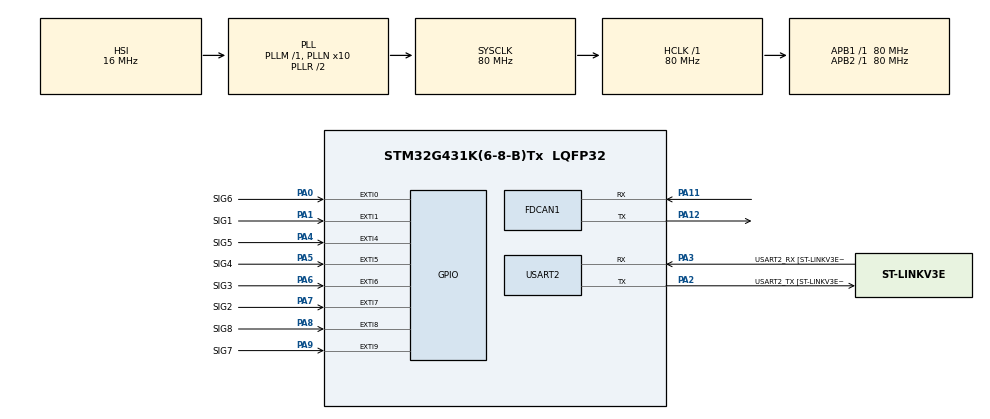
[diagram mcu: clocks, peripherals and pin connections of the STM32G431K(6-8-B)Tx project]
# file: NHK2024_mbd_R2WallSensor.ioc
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FDCAN1.CalculateBaudRateNominal=1000000
FDCAN1.CalculateTimeBitNominal=1000
FDCAN1.CalculateTimeQuantumNominal=50.0
FDCAN1.DataPrescaler=2
FDCAN1.DataSyncJumpWidth=1
FDCAN1.DataTimeSeg1=15
FDCAN1.DataTimeSeg2=4
FDCAN1.FrameFormat=FDCAN_FRAME_FD_BRS
FDCAN1.NominalPrescaler=4
FDCAN1.NominalSyncJumpWidth=1
FDCAN1.NominalTimeSeg1=15
FDCAN1.NominalTimeSeg2=4
FDCAN1.StdFiltersNbr=1
Mcu.Family=STM32G4
Mcu.Name=STM32G431K(6-8-B)Tx
Mcu.Package=LQFP32
NVIC.EXTI0_IRQn=true\:0\:0\:false\:false\:true\:true\:true\:true
NVIC.EXTI1_IRQn=true\:0\:0\:false\:false\:true\:true\:true\:true
NVIC.EXTI4_IRQn=true\:0\:0\:false\:false\:true\:true\:true\:true
NVIC.EXTI9_5_IRQn=true\:0\:0\:false\:false\:true\:true\:true\:true
NVIC.FDCAN1_IT0_IRQn=true\:0\:0\:false\:false\:true\:true\:true\:true
NVIC.FDCAN1_IT1_IRQn=true\:0\:0\:false\:false\:true\:true\:true\:true
NVIC.PriorityGroup=NVIC_PRIORITYGROUP_4
PA0.GPIO_Label=SIG6
PA0.Signal=GPXTI0
PA1.GPIO_Label=SIG1
PA1.Signal=GPXTI1
PA11.Mode=FDCAN_Activate
PA11.Signal=FDCAN1_RX
PA12.Mode=FDCAN_Activate
PA12.Signal=FDCAN1_TX
PA13.GPIO_Label=T_SWDIO
PA13.Mode=Serial_Wire
PA13.Signal=SYS_JTMS-SWDIO
PA14.GPIO_Label=T_SWCLK
PA14.Mode=Serial_Wire
PA14.Signal=SYS_JTCK-SWCLK
PA2.GPIO_Label=USART2_TX [ST-LINKV3E_VCP_RX]
PA2.Mode=Asynchronous
PA2.Signal=USART2_TX
PA3.GPIO_Label=USART2_RX [ST-LINKV3E_VCP_TX]
PA3.Mode=Asynchronous
PA3.Signal=USART2_RX
PA4.GPIO_Label=SIG5
PA4.Signal=GPXTI4
PA5.GPIO_Label=SIG4
PA5.Signal=GPXTI5
PA6.GPIO_Label=SIG3
PA6.Signal=GPXTI6
PA7.GPIO_Label=SIG2
PA7.Signal=GPXTI7
PA8.GPIO_Label=SIG8
PA8.Signal=GPXTI8
PA9.GPIO_Label=SIG7
PA9.Signal=GPXTI9
ProjectManager.HeapSize=0x200
ProjectManager.StackSize=0x400
ProjectManager.TargetToolchain=STM32CubeIDE
RCC.ADC12Freq_Value=80000000
RCC.AHBFreq_Value=80000000
RCC.APB1Freq_Value=80000000
RCC.APB1TimFreq_Value=80000000
RCC.APB2Freq_Value=80000000
RCC.APB2TimFreq_Value=80000000
RCC.CortexFreq_Value=80000000
RCC.EXTERNAL_CLOCK_VALUE=12288000
RCC.HCLKFreq_Value=80000000
RCC.HSE_VALUE=8000000
RCC.HSI48_VALUE=48000000
RCC.HSI_VALUE=16000000
RCC.LSE_VALUE=32768
RCC.PLLN=10
RCC.SYSCLKFreq_VALUE=80000000
RCC.SYSCLKSource=RCC_SYSCLKSOURCE_PLLCLK
RCC.USBFreq_Value=80000000
RCC.VCOOutputFreq_Value=160000000
USART2.VirtualMode-Asynchronous=VM_ASYNC
USART2.WordLength=WORDLENGTH_8B
board=NUCLEO-G431KB

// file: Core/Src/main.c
/* USER CODE BEGIN Header */
/**
  ******************************************************************************
  * @file           : main.c
  * @brief          : Main program body
  ******************************************************************************
  * @attention
  *
  * Copyright (c) 2024 STMicroelectronics.
  * All rights reserved.
  *
  * This software is licensed under terms that can be found in the LICENSE file
  * in the root directory of this software component.
  * If no LICENSE file comes with this software, it is provided AS-IS.
  *
  ******************************************************************************
  */
/* USER CODE END Header */
#include "main.h"

/* USER CODE BEGIN Includes */
#include <stdio.h>
#include "R2CANIDList.h"
/* USER CODE END Includes */

FDCAN_HandleTypeDef hfdcan1;

UART_HandleTypeDef huart2;

/* USER CODE BEGIN PV */
GPIO_TypeDef *SIGs[8] = {
		SIG1_GPIO_Port, SIG2_GPIO_Port, SIG3_GPIO_Port, SIG4_GPIO_Port,
		SIG5_GPIO_Port, SIG6_GPIO_Port, SIG7_GPIO_Port, SIG8_GPIO_Port
};

uint16_t SIGPins[8] = {
		SIG1_Pin, SIG2_Pin, SIG3_Pin, SIG4_Pin,
		SIG5_Pin, SIG6_Pin, SIG7_Pin, SIG8_Pin
};

/* USER CODE END PV */

void SystemClock_Config(void);
static void MX_GPIO_Init(void);
static void MX_USART2_UART_Init(void);
static void MX_FDCAN1_Init(void);
/* USER CODE BEGIN PFP */
uint8_t getWallStatus(void){
	uint8_t status = 0;
	for(uint8_t i=0; i<8; i++){
		uint8_t pinstate = HAL_GPIO_ReadPin(SIGs[i], SIGPins[i]);
		//printf("Sensor%d:%d\r\n", i, pinstate);
		status |= pinstate<<i;
	}
	//printf("Status:%x\r\n", status);
	return status;
}

/* USER CODE END PFP */

/* USER CODE BEGIN 0 */
int _write(int file, char *ptr, int len)
{
		HAL_UART_Transmit(&huart2, (uint8_t *)ptr, len, 10);
		return len;
}
/* USER CODE END 0 */

int main(void)
{
  /* USER CODE BEGIN 1 */
	setbuf(stdout, NULL);
  /* USER CODE END 1 */

  /* MCU Configuration--------------------------------------------------------*/

  /* Reset of all peripherals, Initializes the Flash interface and the Systick. */
  HAL_Init();

  /* Configure the system clock */
  SystemClock_Config();

  /* Initialize all configured peripherals */
  MX_GPIO_Init();
  MX_USART2_UART_Init();
  MX_FDCAN1_Init();
  /* USER CODE BEGIN 2 */
  printf("Initialized\r\n");
  uint8_t TxData[1] = {};

  FDCAN_TxHeaderTypeDef TxHeader;
  TxHeader.IdType = FDCAN_STANDARD_ID;
  	TxHeader.TxFrameType = FDCAN_DATA_FRAME;
  	TxHeader.DataLength = FDCAN_DLC_BYTES_1;
  	TxHeader.ErrorStateIndicator = FDCAN_ESI_ACTIVE;
  	TxHeader.BitRateSwitch = FDCAN_BRS_ON;
  	TxHeader.FDFormat = FDCAN_FD_CAN;
  	TxHeader.TxEventFifoControl = FDCAN_NO_TX_EVENTS;
  	TxHeader.MessageMarker = 0;
  	TxHeader.Identifier = CANID_WALL_DETECTION;
  /* USER CODE END 2 */

  /* Infinite loop */
  /* USER CODE BEGIN WHILE */
  while (1)
  {
	  HAL_Delay(5);
	  TxData[0] = getWallStatus();
	  if(TxData[0] != 255){
		  printf("%x \r\n", TxData[0]);
	  }
	  if (HAL_FDCAN_AddMessageToTxFifoQ(&hfdcan1, &TxHeader, TxData) != HAL_OK) {
		  printf("FDCAN ERROR\r\n");
		  Error_Handler();
	  }
    /* USER CODE END WHILE */

  }
}

void SystemClock_Config(void)
{
  RCC_OscInitTypeDef RCC_OscInitStruct = {0};
  RCC_ClkInitTypeDef RCC_ClkInitStruct = {0};

  /** Configure the main internal regulator output voltage
  */
  HAL_PWREx_ControlVoltageScaling(PWR_REGULATOR_VOLTAGE_SCALE1);

  /** Initializes the RCC Oscillators according to the specified parameters
  * in the RCC_OscInitTypeDef structure.
  */
  RCC_OscInitStruct.OscillatorType = RCC_OSCILLATORTYPE_HSI;
  RCC_OscInitStruct.HSIState = RCC_HSI_ON;
  RCC_OscInitStruct.HSICalibrationValue = RCC_HSICALIBRATION_DEFAULT;
  RCC_OscInitStruct.PLL.PLLState = RCC_PLL_ON;
  RCC_OscInitStruct.PLL.PLLSource = RCC_PLLSOURCE_HSI;
  RCC_OscInitStruct.PLL.PLLM = RCC_PLLM_DIV1;
  RCC_OscInitStruct.PLL.PLLN = 10;
  RCC_OscInitStruct.PLL.PLLP = RCC_PLLP_DIV2;
  RCC_OscInitStruct.PLL.PLLQ = RCC_PLLQ_DIV2;
  RCC_OscInitStruct.PLL.PLLR = RCC_PLLR_DIV2;
  if (HAL_RCC_OscConfig(&RCC_OscInitStruct) != HAL_OK)
  {
    Error_Handler();
  }

  /** Initializes the CPU, AHB and APB buses clocks
  */
  RCC_ClkInitStruct.ClockType = RCC_CLOCKTYPE_HCLK|RCC_CLOCKTYPE_SYSCLK
                              |RCC_CLOCKTYPE_PCLK1|RCC_CLOCKTYPE_PCLK2;
  RCC_ClkInitStruct.SYSCLKSource = RCC_SYSCLKSOURCE_PLLCLK;
  RCC_ClkInitStruct.AHBCLKDivider = RCC_SYSCLK_DIV1;
  RCC_ClkInitStruct.APB1CLKDivider = RCC_HCLK_DIV1;
  RCC_ClkInitStruct.APB2CLKDivider = RCC_HCLK_DIV1;

  if (HAL_RCC_ClockConfig(&RCC_ClkInitStruct, FLASH_LATENCY_2) != HAL_OK)
  {
    Error_Handler();
  }
}

static void MX_FDCAN1_Init(void)
{

  hfdcan1.Instance = FDCAN1;
  hfdcan1.Init.ClockDivider = FDCAN_CLOCK_DIV1;
  hfdcan1.Init.FrameFormat = FDCAN_FRAME_FD_BRS;
  hfdcan1.Init.Mode = FDCAN_MODE_NORMAL;
  hfdcan1.Init.AutoRetransmission = DISABLE;
  hfdcan1.Init.TransmitPause = DISABLE;
  hfdcan1.Init.ProtocolException = DISABLE;
  hfdcan1.Init.NominalPrescaler = 4;
  hfdcan1.Init.NominalSyncJumpWidth = 1;
  hfdcan1.Init.NominalTimeSeg1 = 15;
  hfdcan1.Init.NominalTimeSeg2 = 4;
  hfdcan1.Init.DataPrescaler = 2;
  hfdcan1.Init.DataSyncJumpWidth = 1;
  hfdcan1.Init.DataTimeSeg1 = 15;
  hfdcan1.Init.DataTimeSeg2 = 4;
  hfdcan1.Init.StdFiltersNbr = 1;
  hfdcan1.Init.ExtFiltersNbr = 0;
  hfdcan1.Init.TxFifoQueueMode = FDCAN_TX_FIFO_OPERATION;
  if (HAL_FDCAN_Init(&hfdcan1) != HAL_OK)
  {
    Error_Handler();
  }
  /* USER CODE BEGIN FDCAN1_Init 2 */
  HAL_FDCAN_Start(&hfdcan1);

  /* USER CODE END FDCAN1_Init 2 */

}

static void MX_USART2_UART_Init(void)
{

  huart2.Instance = USART2;
  huart2.Init.BaudRate = 115200;
  huart2.Init.WordLength = UART_WORDLENGTH_8B;
  huart2.Init.StopBits = UART_STOPBITS_1;
  huart2.Init.Parity = UART_PARITY_NONE;
  huart2.Init.Mode = UART_MODE_TX_RX;
  huart2.Init.HwFlowCtl = UART_HWCONTROL_NONE;
  huart2.Init.OverSampling = UART_OVERSAMPLING_16;
  huart2.Init.OneBitSampling = UART_ONE_BIT_SAMPLE_DISABLE;
  huart2.Init.ClockPrescaler = UART_PRESCALER_DIV1;
  huart2.AdvancedInit.AdvFeatureInit = UART_ADVFEATURE_NO_INIT;
  if (HAL_UART_Init(&huart2) != HAL_OK)
  {
    Error_Handler();
  }
  if (HAL_UARTEx_SetTxFifoThreshold(&huart2, UART_TXFIFO_THRESHOLD_1_8) != HAL_OK)
  {
    Error_Handler();
  }
  if (HAL_UARTEx_SetRxFifoThreshold(&huart2, UART_RXFIFO_THRESHOLD_1_8) != HAL_OK)
  {
    Error_Handler();
  }
  if (HAL_UARTEx_DisableFifoMode(&huart2) != HAL_OK)
  {
    Error_Handler();
  }

}

static void MX_GPIO_Init(void)
{
  GPIO_InitTypeDef GPIO_InitStruct = {0};

  /* GPIO Ports Clock Enable */
  __HAL_RCC_GPIOA_CLK_ENABLE();

  /*Configure GPIO pins : SIG6_Pin SIG1_Pin SIG5_Pin SIG4_Pin
                           SIG3_Pin SIG2_Pin SIG8_Pin SIG7_Pin */
  GPIO_InitStruct.Pin = SIG6_Pin|SIG1_Pin|SIG5_Pin|SIG4_Pin
                          |SIG3_Pin|SIG2_Pin|SIG8_Pin|SIG7_Pin;
  GPIO_InitStruct.Mode = GPIO_MODE_IT_RISING;
  GPIO_InitStruct.Pull = GPIO_NOPULL;
  HAL_GPIO_Init(GPIOA, &GPIO_InitStruct);

  /* EXTI interrupt init*/
  HAL_NVIC_SetPriority(EXTI0_IRQn, 0, 0);
  HAL_NVIC_EnableIRQ(EXTI0_IRQn);

  HAL_NVIC_SetPriority(EXTI1_IRQn, 0, 0);
  HAL_NVIC_EnableIRQ(EXTI1_IRQn);

  HAL_NVIC_SetPriority(EXTI4_IRQn, 0, 0);
  HAL_NVIC_EnableIRQ(EXTI4_IRQn);

  HAL_NVIC_SetPriority(EXTI9_5_IRQn, 0, 0);
  HAL_NVIC_EnableIRQ(EXTI9_5_IRQn);

}

void Error_Handler(void)
{
  __disable_irq();
  while (1)
  {
  }
}
